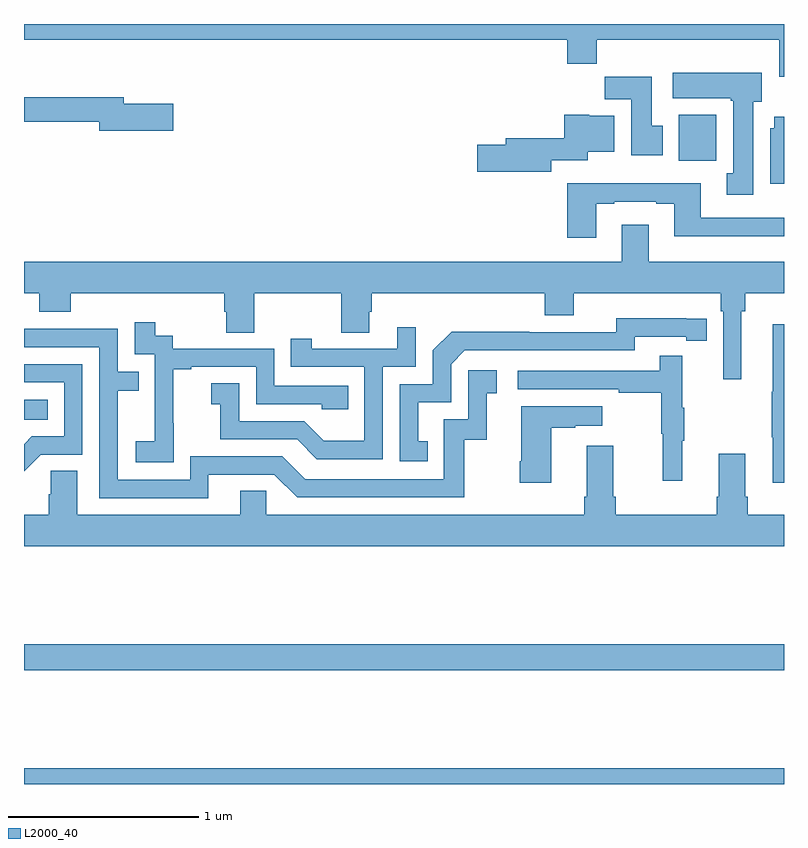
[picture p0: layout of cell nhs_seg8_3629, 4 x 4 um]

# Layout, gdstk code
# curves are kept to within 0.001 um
import gdstk
lib = gdstk.Library(unit=1e-6, precision=1e-09)
def R(c, l, rs):  # rectangles x0, y0, x1, y1
    for r in rs: c.add(gdstk.rectangle(r[:2], r[2:], *l))
def P(c, l, *ps):  # polygons
    for p in ps: c.add(gdstk.Polygon(p, *l))
L2000_40 = (2000, 40)

nhs_seg8_3629 = lib.new_cell('nhs_seg8_3629')
R(nhs_seg8_3629, L2000_40, [(335,1129.9,339,1129.984), (335,1130.5,339,1130.636), (335,1131.818,335.126,1131.922), (338.447,1133.18,338.644,1133.422)])
P(nhs_seg8_3629, L2000_40, [(339,1133.9),(335,1133.9),(335,1133.816),(337.859,1133.816),(337.859,1133.692),(338.015,1133.692),(338.015,1133.816),(338.975,1133.816),(338.975,1133.622),(339,1133.622)],
  [(338.839,1133.49),(338.884,1133.49),(338.884,1133.644),(338.415,1133.644),(338.415,1133.51),(338.719,1133.51),(338.719,1133.497),(338.732,1133.497),(338.732,1133.114),(338.699,1133.114),(338.699,1133.001),(338.839,1133.001)],
  [(338.362,1133.364),(338.305,1133.364),(338.305,1133.623),(338.056,1133.623),(338.056,1133.504),(338.195,1133.504),(338.195,1133.208),(338.362,1133.208)],
  [(335.785,1133.481),(335.524,1133.481),(335.524,1133.515),(335,1133.515),(335,1133.386),(335.396,1133.386),(335.396,1133.339),(335.785,1133.339)],
  [(337.774,1133.184),(337.966,1133.184),(337.966,1133.228),(338.107,1133.228),(338.107,1133.416),(337.974,1133.416),(337.974,1133.422),(337.844,1133.422),(337.844,1133.3),(337.535,1133.3),(337.535,1133.264),(337.386,1133.264),(337.386,1133.122),(337.774,1133.122)],
  [(339,1133.413),(338.948,1133.413),(338.948,1133.352),(338.927,1133.352),(338.927,1133.06),(339,1133.06)],
  [(338.011,1132.953),(338.107,1132.953),(338.107,1132.965),(338.327,1132.965),(338.327,1132.953),(338.423,1132.953),(338.423,1132.784),(339,1132.784),(339,1132.881),(338.563,1132.881),(338.563,1133.062),(337.859,1133.062),(337.859,1132.776),(338.011,1132.776)],
  [(338.776,1132.388),(338.795,1132.388),(338.795,1132.484),(339,1132.484),(339,1132.648),(338.287,1132.648),(338.287,1132.843),(338.147,1132.843),(338.147,1132.648),(335,1132.648),(335,1132.484),(335.081,1132.484),(335.081,1132.385),(335.246,1132.385),(335.246,1132.484),(336.053,1132.484),(336.053,1132.386),(336.065,1132.386),(336.065,1132.276),(336.213,1132.276),(336.213,1132.484),(336.67,1132.484),(336.67,1132.276),(336.817,1132.276),(336.817,1132.386),(336.83,1132.386),(336.83,1132.484),(337.742,1132.484),(337.742,1132.367),(337.894,1132.367),(337.894,1132.484),(338.666,1132.484),(338.666,1132.388),(338.679,1132.388),(338.679,1132.029),(338.776,1132.029)],
  [(337.124,1131.705),(337.075,1131.705),(337.075,1131.909),(337.248,1131.909),(337.248,1132.11),(337.32,1132.182),(338.214,1132.182),(338.214,1132.254),(338.486,1132.254),(338.486,1132.234),(338.594,1132.234),(338.594,1132.35),(338.118,1132.351),(338.118,1132.278),(337.658,1132.278),(337.658,1132.28),(337.25,1132.28),(337.152,1132.182),(337.152,1132.005),(336.978,1132.005),(336.978,1131.6),(337.124,1131.6)],
  [(335.787,1131.799),(335.786,1131.799),(335.786,1132.083),(335.881,1132.083),(335.881,1132.095),(336.222,1132.095),(336.222,1131.9),(336.567,1131.9),(336.567,1131.873),(336.707,1131.873),(336.707,1131.996),(336.318,1131.996),(336.318,1132.191),(335.784,1132.191),(335.784,1132.26),(335.692,1132.26),(335.692,1132.33),(335.583,1132.33),(335.583,1132.161),(335.688,1132.161),(335.688,1131.932),(335.687,1131.932),(335.687,1131.703),(335.589,1131.703),(335.589,1131.593),(335.787,1131.593)],
  [(339,1132.321),(338.942,1132.321),(338.942,1131.965),(338.935,1131.965),(338.935,1131.724),(338.942,1131.724),(338.942,1131.486),(339,1131.486)],
  [(336.888,1132.095),(337.062,1132.095),(337.062,1132.303),(336.965,1132.303),(336.965,1132.191),(336.514,1132.191),(336.514,1132.243),(336.403,1132.243),(336.403,1132.095),(336.792,1132.095),(336.792,1131.706),(336.578,1131.706),(336.474,1131.81),(336.132,1131.81),(336.132,1132.009),(335.985,1132.009),(335.985,1131.899),(336.034,1131.899),(336.034,1131.714),(336.437,1131.714),(336.542,1131.609),(336.888,1131.609)],
  [(335.971,1131.528),(336.318,1131.528),(336.438,1131.408),(337.318,1131.408),(337.318,1131.711),(337.436,1131.711),(337.436,1131.957),(337.489,1131.957),(337.489,1132.078),(337.338,1132.078),(337.338,1131.819),(337.209,1131.819),(337.209,1131.504),(336.48,1131.504),(336.36,1131.624),(335.874,1131.624),(335.874,1131.501),(335.493,1131.501),(335.493,1131.97),(335.603,1131.97),(335.603,1132.071),(335.493,1132.071),(335.493,1132.296),(335,1132.296),(335,1132.2),(335.397,1132.2),(335.397,1131.405),(335.971,1131.405)],
  [(338.465,1131.707),(338.476,1131.707),(338.476,1131.881),(338.465,1131.881),(338.465,1132.153),(338.347,1132.153),(338.347,1132.074),(337.599,1132.074),(337.599,1131.978),(338.131,1131.978),(338.131,1131.958),(338.355,1131.958),(338.355,1131.744),(338.362,1131.744),(338.362,1131.495),(338.465,1131.495)],
  [(335.088,1131.633),(335.307,1131.633),(335.307,1132.11),(335,1132.11),(335,1132.014),(335.211,1132.014),(335.211,1131.729),(335.042,1131.729),(335,1131.687),(335,1131.546)],
  [(337.774,1131.775),(337.901,1131.775),(337.901,1131.785),(338.044,1131.785),(338.044,1131.889),(337.616,1131.889),(337.616,1131.598),(337.609,1131.598),(337.609,1131.486),(337.774,1131.486)],
  [(339,1131.316),(338.81,1131.316),(338.81,1131.412),(338.797,1131.412),(338.797,1131.637),(338.657,1131.637),(338.657,1131.412),(338.645,1131.412),(338.645,1131.316),(338.114,1131.316),(338.114,1131.412),(338.101,1131.412),(338.101,1131.679),(337.961,1131.679),(337.961,1131.412),(337.949,1131.412),(337.949,1131.316),(336.276,1131.316),(336.276,1131.443),(336.137,1131.443),(336.137,1131.316),(335.281,1131.316),(335.281,1131.548),(335.142,1131.548),(335.142,1131.425),(335.129,1131.425),(335.129,1131.316),(335,1131.316),(335,1131.152),(339,1131.152)])

lib.write_gds('nhs_seg8_3629.gds')
